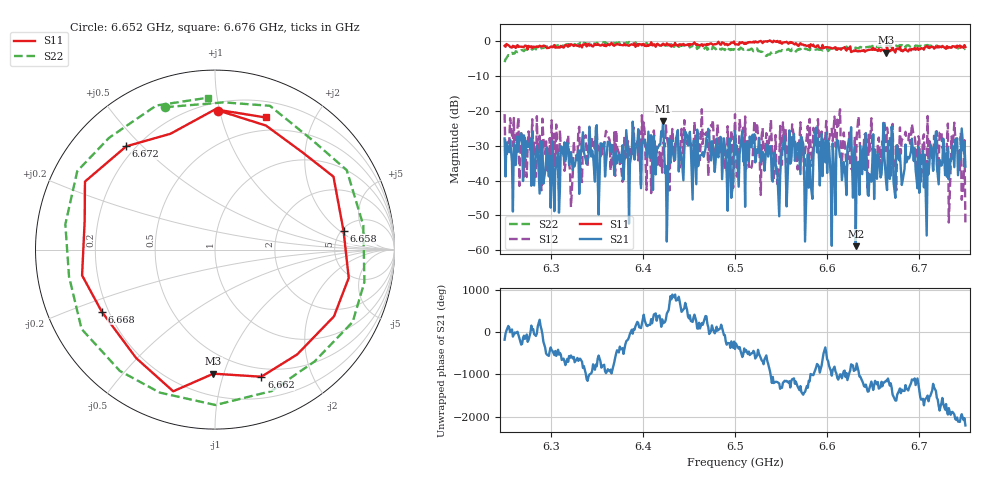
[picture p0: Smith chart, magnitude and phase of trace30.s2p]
# Hz S RI R 50
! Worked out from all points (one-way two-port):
!   401 points, 6.25 GHz to 6.75 GHz, reference 50 ohm
!   highest |S21| = -22.84 dB at 6.422 GHz (marker M1); lowest = -58.8 dB at 6.631 GHz (marker M2)
!   lowest |S11| = -3.2 dB at 6.664 GHz (marker M3), VSWR 5.48, Z = 17.5 - j46.2 ohm
!   |S11| at or under -10 dB: nowhere
!   |S22| runs from -6.0 to -0.2 dB; largest |S21 - S12| = 0.13
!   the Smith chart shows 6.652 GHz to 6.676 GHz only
!   S11 on the Smith chart (normalised r, x): 6.652 GHz: 0.26, +0.99; 6.658 GHz: 5.21, +2.28; 6.662 GHz: 0.41, -1.35; 6.668 GHz: 0.17, -0.25; 6.672 GHz: 0.17, +0.45; 6.676 GHz: 0.36, +1.39
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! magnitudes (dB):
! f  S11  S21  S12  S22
! 6.25 GHz  -1.3  -27.9  -20.9  -6.0
! 6.306 GHz  -1.8  -35.6  -23.9  -1.4
! 6.334 GHz  -1.7  -28.7  -40.4  -0.6
! 6.418 GHz  -1.1  -29.6  -31.8  -0.7
! 6.422 GHz  -0.7  -22.8  -29.1  -1.0
! 6.426 GHz  -0.6  -57.5  -27.8  -1.2
! 6.449 GHz  -0.8  -29.9  -27.3  -0.9
! 6.495 GHz  -0.7  -31.9  -33.3  -2.5
! 6.5 GHz  -0.9  -25.8  -20.9  -2.5
! 6.584 GHz  -1.2  -45.2  -35.9  -2.4
! 6.589 GHz  -1.2  -31.9  -29.8  -2.3
! 6.631 GHz  -2.5  -58.8  -41.0  -1.8
! 6.652 GHz  -2.2  -31.1  -36.5  -1.5
! 6.658 GHz  -2.8  -39.1  -35.4  -1.3
! 6.662 GHz  -2.5  -32.8  -23.0  -1.6
! 6.664 GHz  -3.2  -40.5  -31.5  -1.4
! 6.668 GHz  -2.9  -39.5  -27.4  -1.3
! 6.672 GHz  -2.4  -40.4  -34.1  -1.1
! 6.676 GHz  -2.1  -30.2  -29.8  -1.4
! 6.708 GHz  -1.3  -55.8  -35.5  -1.1
! 6.738 GHz  -1.4  -36.1  -23.4  -1.9
! 6.75 GHz  -1.6  -36.0  -52.1  -2.1
